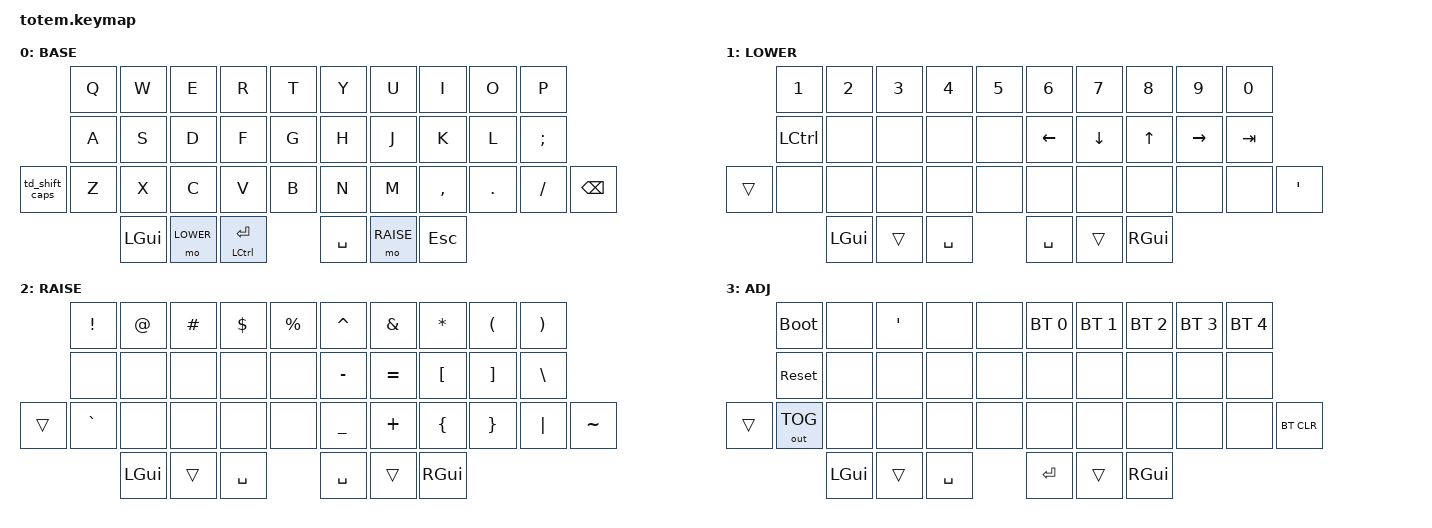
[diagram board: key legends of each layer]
/*
 * TOTEM — keymap replicado desde corne-wired.vil (Vial/QMK)
 *
 * Cambios respecto al Corne:
 *  - Tecla exterior inferior izquierda = LSHIFT (tap) / CAPS (doble tap)
 *  - Pulgar izquierdo ENTER = tap ENTER, hold LCTRL
 *  - Capa ADJ (3): fila superior derecha = perfiles Bluetooth 0-4
 *    y BT_CLR en la tecla exterior derecha
 *  - FN_MO13 / FN_MO23 (tri-layer VIA) -> &mo + conditional_layers
 *  - RGB eliminado (el TOTEM no tiene), QK_BOOT -> &bootloader
 */

#include <behaviors.dtsi>
#include <dt-bindings/zmk/keys.h>
#include <dt-bindings/zmk/bt.h>
#include <dt-bindings/zmk/outputs.h>

#define BASE  0
#define LOWER 1
#define RAISE 2
#define ADJ   3

/ {
    behaviors {
        td_shift_caps: tap_dance_shift_caps {
            compatible = "zmk,behavior-tap-dance";
            #binding-cells = <0>;
            tapping-term-ms = <200>;
            bindings = <&kp LSHFT>, <&kp CAPS>;
        };
    };

    conditional_layers {
        compatible = "zmk,conditional-layers";
        tri_layer {
            if-layers = <LOWER RAISE>;
            then-layer = <ADJ>;
        };
    };

    keymap {
        compatible = "zmk,keymap";

        base_layer {
            display-name = "BASE";
            bindings = <
//          ┌───────┬───────┬───────┬───────┬───────┐    ┌───────┬───────┬───────┬───────┬───────┐
//          │   Q   │   W   │   E   │   R   │   T   │    │   Y   │   U   │   I   │   O   │   P   │
              &kp Q   &kp W   &kp E   &kp R   &kp T        &kp Y   &kp U   &kp I   &kp O   &kp P
//          │   A   │   S   │   D   │   F   │   G   │    │   H   │   J   │   K   │   L   │   ;   │
              &kp A   &kp S   &kp D   &kp F   &kp G        &kp H   &kp J   &kp K   &kp L   &kp SEMI
//  ┌───────┼───────┼───────┼───────┼───────┼───────┤    ├───────┼───────┼───────┼───────┼───────┼───────┐
//  │SHF/CPS│   Z   │   X   │   C   │   V   │   B   │    │   N   │   M   │   ,   │   .   │   /   │ BSPC  │
    &td_shift_caps &kp Z   &kp X   &kp C   &kp V   &kp B        &kp N   &kp M &kp COMMA &kp DOT &kp FSLH &kp BSPC
//  └───────┴───────┼───────┼───────┼───────┼───────┤    ├───────┼───────┼───────┼───────┴───────┴───────┘
//                  │  GUI  │ LOWER │CTL/ENT│              │ SPACE │ RAISE │  ESC  │
                    &kp LGUI &mo LOWER &mt LCTRL RET          &kp SPACE &mo RAISE &kp ESC
            >;
        };

        lower_layer {
            display-name = "LOWER";
            bindings = <
//          ┌───────┬───────┬───────┬───────┬───────┐    ┌───────┬───────┬───────┬───────┬───────┐
//          │   1   │   2   │   3   │   4   │   5   │    │   6   │   7   │   8   │   9   │   0   │
              &kp N1  &kp N2  &kp N3  &kp N4  &kp N5       &kp N6  &kp N7  &kp N8  &kp N9  &kp N0
//          │ CTRL  │       │       │       │       │    │   ←   │   ↓   │   ↑   │   →   │  TAB  │
            &kp LCTRL &none   &none   &none   &none      &kp LEFT &kp DOWN &kp UP &kp RIGHT &kp TAB
//  ┌───────┼───────┼───────┼───────┼───────┼───────┤    ├───────┼───────┼───────┼───────┼───────┼───────┐
//  │ (ctrl)│       │       │       │       │       │    │       │       │       │       │       │   '   │
     &trans   &none   &none   &none   &none   &none        &none   &none   &none   &none   &none  &kp SQT
//  └───────┴───────┼───────┼───────┼───────┼───────┤    ├───────┼───────┼───────┼───────┴───────┴───────┘
//                  │  GUI  │ ▽▽▽▽▽ │ SPACE │              │ SPACE │ ▽▽▽▽▽ │  GUI  │
                    &kp LGUI  &trans &kp SPACE          &kp SPACE  &trans  &kp RGUI
            >;
        };

        raise_layer {
            display-name = "RAISE";
            bindings = <
//          ┌───────┬───────┬───────┬───────┬───────┐    ┌───────┬───────┬───────┬───────┬───────┐
//          │   !   │   @   │   #   │   $   │   %   │    │   ^   │   &   │   *   │   (   │   )   │
             &kp EXCL &kp AT &kp HASH &kp DLLR &kp PRCNT  &kp CARET &kp AMPS &kp ASTRK &kp LPAR &kp RPAR
//          │       │       │       │       │       │    │   -   │   =   │   [   │   ]   │   \   │
              &none   &none   &none   &none   &none      &kp MINUS &kp EQUAL &kp LBKT &kp RBKT &kp BSLH
//  ┌───────┼───────┼───────┼───────┼───────┼───────┤    ├───────┼───────┼───────┼───────┼───────┼───────┐
//  │ (ctrl)│   `   │       │       │       │       │    │   _   │   +   │   {   │   }   │   |   │   ~   │
     &trans &kp GRAVE &none   &none   &none   &none      &kp UNDER &kp PLUS &kp LBRC &kp RBRC &kp PIPE &kp TILDE
//  └───────┴───────┼───────┼───────┼───────┼───────┤    ├───────┼───────┼───────┼───────┴───────┴───────┘
//                  │  GUI  │ ▽▽▽▽▽ │ SPACE │              │ SPACE │ ▽▽▽▽▽ │  GUI  │
                    &kp LGUI  &trans &kp SPACE          &kp SPACE  &trans  &kp RGUI
            >;
        };

        adjust_layer {
            display-name = "ADJ";
            bindings = <
//          ┌───────┬───────┬───────┬───────┬───────┐    ┌───────┬───────┬───────┬───────┬───────┐
//          │ BOOT  │       │   '   │       │       │    │ BT 0  │ BT 1  │ BT 2  │ BT 3  │ BT 4  │
            &bootloader &none &kp SQT &none   &none    &bt BT_SEL 0 &bt BT_SEL 1 &bt BT_SEL 2 &bt BT_SEL 3 &bt BT_SEL 4
//          │ RESET │       │       │       │       │    │       │       │       │       │       │
            &sys_reset &none  &none   &none   &none        &none   &none   &none   &none   &none
//  ┌───────┼───────┼───────┼───────┼───────┼───────┤    ├───────┼───────┼───────┼───────┼───────┼───────┐
//  │ (ctrl)│USB/BLE│       │       │       │       │    │       │       │       │       │       │BT CLR │
     &trans &out OUT_TOG &none &none  &none   &none        &none   &none   &none   &none   &none &bt BT_CLR
//  └───────┴───────┼───────┼───────┼───────┼───────┤    ├───────┼───────┼───────┼───────┴───────┴───────┘
//                  │  GUI  │ ▽▽▽▽▽ │ SPACE │              │ ENTER │ ▽▽▽▽▽ │  GUI  │
                    &kp LGUI  &trans &kp SPACE           &kp RET   &trans  &kp RGUI
            >;
        };
    };
};
